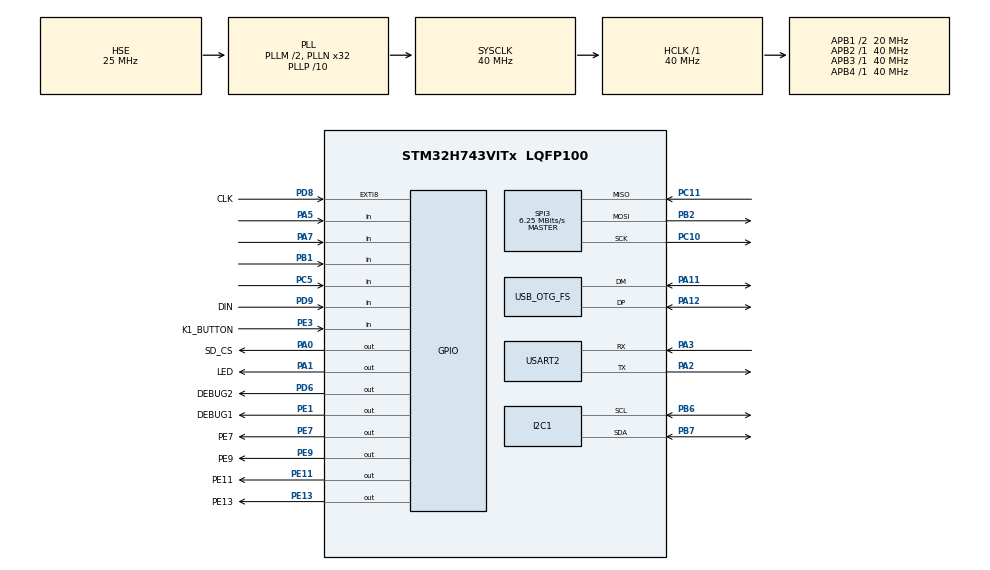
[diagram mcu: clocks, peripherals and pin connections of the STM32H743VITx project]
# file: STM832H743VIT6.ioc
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FATFS._MAX_SS=4096
FATFS._USE_LFN=1
FATFS._VOLUMES=2
I2C1.Timing=0x00404C74
Mcu.Family=STM32H7
Mcu.Name=STM32H743VITx
Mcu.Package=LQFP100
NVIC.EXTI9_5_IRQn=true\:0\:0\:false\:false\:true\:true\:true\:true
NVIC.OTG_FS_IRQn=true\:0\:0\:false\:false\:true\:false\:true\:true
NVIC.PriorityGroup=NVIC_PRIORITYGROUP_4
NVIC.TIM2_IRQn=true\:0\:0\:false\:false\:true\:true\:true\:true
NVIC.USART2_IRQn=true\:0\:0\:false\:false\:true\:true\:true\:true
PA0.GPIO_Label=SD_CS
PA0.GPIO_Speed=GPIO_SPEED_FREQ_MEDIUM
PA0.Signal=GPIO_Output
PA1.GPIO_Label=LED
PA1.GPIO_Speed=GPIO_SPEED_FREQ_MEDIUM
PA1.PinState=GPIO_PIN_SET
PA1.Signal=GPIO_Output
PA11.Mode=Device_Only
PA11.Signal=USB_OTG_FS_DM
PA12.Mode=Device_Only
PA12.Signal=USB_OTG_FS_DP
PA13\ (JTMS/SWDIO).Mode=Serial_Wire
PA13\ (JTMS/SWDIO).Signal=DEBUG_JTMS-SWDIO
PA14\ (JTCK/SWCLK).Mode=Serial_Wire
PA14\ (JTCK/SWCLK).Signal=DEBUG_JTCK-SWCLK
PA2.Mode=Asynchronous
PA2.Signal=USART2_TX
PA3.Mode=Asynchronous
PA3.Signal=USART2_RX
PA5.GPIO_PuPd=GPIO_PULLUP
PA5.Signal=GPIO_Input
PA7.GPIO_PuPd=GPIO_PULLUP
PA7.Signal=GPIO_Input
PB1.GPIO_PuPd=GPIO_PULLUP
PB1.Signal=GPIO_Input
PB2.Mode=Full_Duplex_Master
PB2.Signal=SPI3_MOSI
PB6.Mode=I2C
PB6.Signal=I2C1_SCL
PB7.Mode=I2C
PB7.Signal=I2C1_SDA
PC10.Mode=Full_Duplex_Master
PC10.Signal=SPI3_SCK
PC11.Mode=Full_Duplex_Master
PC11.Signal=SPI3_MISO
PC5.GPIO_PuPd=GPIO_PULLUP
PC5.Signal=GPIO_Input
PD6.GPIO_Label=DEBUG2
PD6.Signal=GPIO_Output
PD8.GPIO_Label=CLK
PD8.GPIO_ModeDefaultEXTI=GPIO_MODE_IT_FALLING
PD8.Signal=GPXTI8
PD9.GPIO_Label=DIN
PD9.Signal=GPIO_Input
PE1.GPIO_Label=DEBUG1
PE1.PinState=GPIO_PIN_SET
PE1.Signal=GPIO_Output
PE11.GPIO_Label=PE11
PE11.Signal=GPIO_Output
PE13.GPIO_Label=PE13
PE13.Signal=GPIO_Output
PE3.GPIO_Label=K1_BUTTON
PE3.GPIO_PuPd=GPIO_PULLUP
PE3.Signal=GPIO_Input
PE7.GPIO_Label=PE7
PE7.Signal=GPIO_Output
PE9.GPIO_Label=PE9
PE9.Signal=GPIO_Output
PH0-OSC_IN\ (PH0).Mode=HSE-External-Oscillator
PH0-OSC_IN\ (PH0).Signal=RCC_OSC_IN
PH1-OSC_OUT\ (PH1).Mode=HSE-External-Oscillator
PH1-OSC_OUT\ (PH1).Signal=RCC_OSC_OUT
ProjectManager.HeapSize=0x400
ProjectManager.StackSize=0x800
ProjectManager.TargetToolchain=STM32CubeIDE
RCC.ADCFreq_Value=50390625
RCC.APB1Freq_Value=20000000
RCC.APB2Freq_Value=40000000
RCC.APB3Freq_Value=40000000
RCC.APB4Freq_Value=40000000
RCC.CortexFreq_Value=40000000
RCC.D2PPRE1=RCC_APB1_DIV2
RCC.DIVM1=2
RCC.DIVN1=32
RCC.DIVP1=10
RCC.DIVQ1=8
RCC.HCLKFreq_Value=40000000
RCC.PLLFRACN=0
RCC.PLLSourceVirtual=RCC_PLLSOURCE_HSE
RCC.SYSCLKFreq_VALUE=40000000
RCC.SYSCLKSource=RCC_SYSCLKSOURCE_PLLCLK
RCC.USBFreq_Value=50000000
SPI3.BaudRatePrescaler=SPI_BAUDRATEPRESCALER_8
SPI3.CalculateBaudRate=6.25 MBits/s
SPI3.DataSize=SPI_DATASIZE_8BIT
SPI3.Direction=SPI_DIRECTION_2LINES
SPI3.Mode=SPI_MODE_MASTER
SPI3.VirtualType=VM_MASTER
TIM2.Period=10
TIM2.Prescaler=39999
USART2.VirtualMode-Asynchronous=VM_ASYNC
USB_DEVICE.CLASS_NAME_FS=CUSTOM_HID
USB_DEVICE.USBD_CUSTOM_HID_REPORT_DESC_SIZE-CUSTOM_HID_FS=61
USB_DEVICE.VirtualMode-CUSTOM_HID_FS=CustomHid
USB_DEVICE.VirtualModeFS=Custom_Hid_FS
USB_OTG_FS.VirtualMode=Device_Only
VP_FATFS_VS_Generic.Mode=User_defined
VP_TIM2_VS_ClockSourceINT.Mode=Internal
VP_USB_DEVICE_VS_USB_DEVICE_CUSTOM_HID_FS.Mode=CUSTOM_HID_FS
board=custom

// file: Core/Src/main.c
/* USER CODE BEGIN Header */
/**
  ******************************************************************************
  * @file           : main.c
  * @brief          : Main program body
  ******************************************************************************
  * @attention
  *
  * Copyright (c) 2023 STMicroelectronics.
  * All rights reserved.
  *
  * This software is licensed under terms that can be found in the LICENSE file
  * in the root directory of this software component.
  * If no LICENSE file comes with this software, it is provided AS-IS.
  *
  ******************************************************************************
  *
  * OLED, klawiatura, keypad
  * --------------------------
  * SD na SPI3
  * CS PA0 biały (przy module) -> zielony (analizator)
  * MOSI PB2 niebieski fioletowy (analizator)
  * MISO PC11 czarny -> niebieski (analizator)
  * SCK PC10 żółty	-> żółty (analizator)
  *
  *
  *
  * ToDo bieżące
  *
  * wyłuskanie nazwy pliku i katalogu z dwóch struktur: FILINFO I FATFS
  *
  *
  * 	- nowy branch z przykładami wykorzystania biblioteki Chana ver. 0.15 (Chan_FatFS_015) -> implementacja
  * 	- analiza na analizatorze braku inicjalizacji -> na potem
  * 		- CLK i MOSI nie startują po inicjalizacji; może zmiana zegara ma wpływ?
  * 			- niby po delay pojawił się dodakowy dołek/impuls w CS po ini
  *
  *------------------------------------------------------
  * 	- pamiętać:
  * 		- u nas jest:
  * 			- hspi3 (hspi trzy)
  * 			- huart2
  * 				- PA2 TXD
  * 				- PA3 RXD
  *
  * ToDo na później
  * 	- obsługa dwóch kart
  * 	- identyfikacja klawiatury (model/producent) w sytemie na PC
  * 	- keypad ewentualnie na przerwaniach: są opóźnienia na klawiaturze spowodowane
  * 	debouncingiem i timeoutem w obsłudze KeyPada
  */
/* USER CODE END Header */
#include "main.h"
#include "fatfs.h"
#include "i2c.h"
#include "spi.h"
#include "tim.h"
#include "usart.h"
#include "usb_device.h"
#include "gpio.h"

/* USER CODE BEGIN Includes */
#include "sd.h"

#include "keyboard.h"
#include "queue.h"
#include <string.h>
#include <stdio.h>
#include "ssd1306.h"
#include "KeyPad.h"
//#include <ssd1306_tests.h>
/* USER CODE END Includes */

/* USER CODE BEGIN PD */
#define SSD1306_USE_I2C
#define __DEBUG 1
#define BUFFERSIZE 100
#define I2CBUF	12
#define debug_print(x) 	do { if ( __DEBUG ) { strcpy(uartBuffer, x); HAL_UART_Transmit(&huart2, (unsigned char*) uartBuffer, strlen(uartBuffer), HAL_MAX_DELAY); }} while (0)
/* USER CODE END PD */

/* USER CODE BEGIN PV */
volatile uint16_t Timer1=0;
//uint8_t sect[512];
//char buffer1[512] ="Selection ... The..."; //bufor danych dla zapisu i odczytu
uint8_t sect[512];
// z urok 3:
extern char str1[60];
uint32_t byteswritten,bytesread;
uint8_t result;
extern char USERPath[4]; /* logical drive path */
FATFS SDFatFs;
FATFS *fs;
FIL MyFile;
FRESULT fr;
FILINFO fno;

//---------------------
struct queue_t keyq = {0};
struct keyboard_hid_t khid = {0};
uint32_t keyq_timeout = 0;
// dla OLED:
const uint8_t SSD1306_ADDRESS = 0x3C << 1;
const uint8_t RANDOM_REG = 0x0F;

char uartBuffer[BUFFERSIZE] = "";
uint8_t I2CBuffer[I2CBUF] = {0};
HAL_StatusTypeDef returnValue = 0;
// koniec OLED

/* USER CODE END PV */

void SystemClock_Config(void);

/* USER CODE BEGIN 0 */
FRESULT ReadLongFile(void)

{
  uint16_t i=0, i1=0;
  uint32_t ind=0;
  uint32_t f_size = fno.fsize;
	sprintf(str1, "fsize: %lu\r\n", (unsigned long) f_size);
	HAL_UART_Transmit(&huart2, (uint8_t*) str1, strlen(str1), 0x1000);
	ind = 0;
	do
	{
		if (f_size < 512)
		{
			i1 = f_size;
		}
		else
		{
			i1 = 512;
		}
		f_size -= i1;
		f_lseek(&MyFile, ind);
		f_read(&MyFile, sect, i1, (UINT*) &bytesread);
		for (i = 0; i < bytesread; i++)
		{
			HAL_UART_Transmit(&huart2, sect + i, 1, 0x1000);
		}
		ind += i1;
	}
	while (f_size > 0);
	HAL_UART_Transmit(&huart2, (uint8_t*) "\r\n", 2, 0x1000);
	return FR_OK;
}

void init()
{
	//ssd1306_TestAll();

}

/* USER CODE END 0 */

int main(void)
{
  /* USER CODE BEGIN 1 */
	uint16_t i;
	FRESULT res; /* FatFs function common result code */
	uint8_t wtext[] = "STM32 FATFS works jako tako"; /* File write buffer */
	FILINFO fileInfo;
	char *fn;
	DIR dir;
	DWORD fre_clust, fre_sect, tot_sect;

	uint32_t byteswritten; /* File write/read counts */
	//uint8_t rtext[_MAX_SS];/* File read buffer */

	KeyPad_Init();

  /* USER CODE END 1 */

  /* MCU Configuration--------------------------------------------------------*/

  /* Reset of all peripherals, Initializes the Flash interface and the Systick. */
  HAL_Init();

  /* Configure the system clock */
  SystemClock_Config();

  /* Initialize all configured peripherals */
  MX_GPIO_Init();
  MX_I2C1_Init();
  MX_USART2_UART_Init();
  MX_USB_DEVICE_Init();
  MX_FATFS_Init();
  MX_TIM2_Init();
  MX_SPI3_Init();
  /* USER CODE BEGIN 2 */
  //HAL_Delay(1000);

  HAL_TIM_Base_Start_IT(&htim2);
  //SD_PowerOn();
  //sd_ini();

  // zapis i odczyt z pominięciem systemu plików:
  //SD_Write_Block((uint8_t*)buffer1,0x0400); //zapisujemy blok w bufor na konkretny adres
  //SD_Read_Block(sect,0x0400); //wczytujemy blok z bufora (karty)
  //for(i=0;i<512;i++) HAL_UART_Transmit(&huart2, sect+i, 1, 0x1000);
  //HAL_UART_Transmit(&huart2,(uint8_t*)"\r\n",2,0x1000);

  disk_initialize(SDFatFs.drv);
  /*
  //read
  	if (f_mount(&SDFatFs, (TCHAR const*) USERPath, 0) != FR_OK)
	{
		Error_Handler();
	}
	else
	{
		fr = f_stat("123.txt", &fno);
		if (f_open(&MyFile, "123.txt", FA_READ) != FR_OK)
		{
			Error_Handler();
		}
		else
		{
			ReadLongFile();
			f_close(&MyFile);
		}
	}
*/
/*
  //write

  if(f_mount(&SDFatFs,(TCHAR const*)USERPath,0)!=FR_OK)
  {
    Error_Handler();
  }
  else
  {
    if(f_open(&MyFile,"mywrite.txt",FA_CREATE_ALWAYS|FA_WRITE)!=FR_OK)
    {
      Error_Handler();
    }

    else
    {
      res=f_write(&MyFile,wtext,sizeof(wtext),(void*)&byteswritten);
      if((byteswritten==0)||(res!=FR_OK))
      {
        Error_Handler();
      }
      f_close(&MyFile);
    }
  }
*/
//read dir
  if(f_mount(&SDFatFs,(TCHAR const*)USERPath,0)!=FR_OK)
  {
    Error_Handler();
  }
  else
  {
	SDFatFs.lfnbuf = (char*)sect;
    fileInfo.fsize = sizeof(sect);
    result = f_opendir(&dir, "/");
    if (result == FR_OK)
    {
    	while(1)
    	  {
    	    result = f_readdir(&dir, &fileInfo);
    	    if (result==FR_OK && fileInfo.fname[0])
    	    {
    	    	//fn = fileInfo.lfname; ???
    	    	fn = SDFatFs.lfnbuf;
    	    	  if(strlen(fn))
    	    	  {
    	    		  HAL_UART_Transmit(&huart2,(uint8_t*) fn, strlen(fn),0x1000);
    	    	  }
    	    	  else
    	    		  {
    	    		  	  HAL_UART_Transmit(&huart2,(uint8_t*)fileInfo.fname, strlen((char*)fileInfo.fname),0x1000);
    	    		  }
    	    	  if(fileInfo.fattrib & AM_DIR)
    	    	  {
    	    	    HAL_UART_Transmit(&huart2,(uint8_t*)" [DIR]",7,0x1000);
    	    	  }
    	    }
    	    else break;
    	    HAL_UART_Transmit(&huart2,(uint8_t*)"\r\n",2,0x1000);
    	  }
      f_closedir(&dir);
    }
  }
  FATFS_UnLinkDriver(USERPath);

  queue_init(&keyq);
  const char message[] = "Keyboard started!\r\n";
  HAL_UART_Transmit(&huart2, (uint8_t*)message, strlen(message), HAL_MAX_DELAY);

  /* USER CODE END 2 */

  /* Infinite loop */
  /* USER CODE BEGIN WHILE */
  	// inicjalizacja OLED
  	ssd1306_Init();
    ssd1306_Fill(Black);
    ssd1306_SetCursor(0,26);
    ssd1306_WriteString("Modulo 3 ele", Font_11x18, White);
    ssd1306_UpdateScreen();

  while (1)
  {
	  // ToDo opóźnienie i ini później do usunięcia
	  HAL_Delay(100);
	  handle_keys(&hUsbDeviceFS, &khid, &keyq, keyq_timeout, &hi2c1);
	#ifdef DEBUG
	  uint8_t bit = HAL_GPIO_ReadPin(CLK_GPIO_Port, CLK_Pin);
	  	  if (bit == 0)
	  	  {
	  		  HAL_GPIO_WritePin(DEBUG1_GPIO_Port, DEBUG1_Pin, GPIO_PIN_RESET);
	  	  }
	  	  else
	  	  {
	  		  HAL_GPIO_WritePin(DEBUG1_GPIO_Port, DEBUG1_Pin, GPIO_PIN_SET);
	  	  }
	  	  //HAL_GPIO_TogglePin(DEBUG1_GPIO_Port, DEBUG1_Pin);
		  bit = HAL_GPIO_ReadPin(DIN_GPIO_Port, DIN_Pin);
	  	  if (bit == 0)
	  	  {
	  		  HAL_GPIO_WritePin(DEBUG2_GPIO_Port, DEBUG2_Pin, GPIO_PIN_RESET);
	  	  }
	  	  else
	  	  {
	  		  HAL_GPIO_WritePin(DEBUG2_GPIO_Port, DEBUG2_Pin, GPIO_PIN_SET);
	  	  }
	  	  /*
	  	  HAL_GPIO_TogglePin(PC8_GPIO_Port, PC8_Pin);
	  	  HAL_GPIO_TogglePin(PC9_GPIO_Port, PC9_Pin);
	  	  HAL_GPIO_TogglePin(PC10_GPIO_Port, PC10_Pin);
	  	  HAL_GPIO_TogglePin(PC11_GPIO_Port, PC11_Pin);
	  	  HAL_GPIO_TogglePin(PC12_GPIO_Port, PC12_Pin);
	  	  HAL_GPIO_TogglePin(PD2_GPIO_Port, PD2_Pin);

	  	  HAL_GPIO_TogglePin(PA5_GPIO_Port, PA5_Pin);
	  	  HAL_GPIO_TogglePin(PA7_GPIO_Port, PA7_Pin);
	  	  HAL_GPIO_TogglePin(PC5_GPIO_Port, PC5_Pin);
	  	  HAL_GPIO_TogglePin(PB1_GPIO_Port, PB1_Pin);

	  	  HAL_GPIO_TogglePin(PE7_GPIO_Port, PE7_Pin);
	  	  HAL_GPIO_TogglePin(PE9_GPIO_Port, PE9_Pin);
	  	  HAL_GPIO_TogglePin(PE11_GPIO_Port, PE11_Pin);
	  	  HAL_GPIO_TogglePin(PE13_GPIO_Port, PE13_Pin);
	  	  // SD2:
	  	  HAL_GPIO_TogglePin(PA0_GPIO_Port, PA0_Pin);
	  	  HAL_GPIO_TogglePin(PB3_GPIO_Port, PB3_Pin);
	  	  HAL_GPIO_TogglePin(PB4_GPIO_Port, PB4_Pin);
	  	  HAL_GPIO_TogglePin(PB14_GPIO_Port, PB14_Pin);
	  	  HAL_GPIO_TogglePin(PB15_GPIO_Port, PB15_Pin);
	  	  HAL_GPIO_TogglePin(PC1_GPIO_Port, PC1_Pin);
	  	  */
	  	  //HAL_GPIO_TogglePin(SD_CS_GPIO_Port, SD_CS_Pin);
	  	  //HAL_GPIO_TogglePin(LED_GPIO_Port, LED_Pin);

	#endif
			 //const char message[] = "petla po zapisie\r\n";
			  //HAL_UART_Transmit(&huart2, (uint8_t*)message, strlen(message), HAL_MAX_DELAY);
			//HAL_Delay(500);
			 uint16_t keypad;
			 uint32_t timeout = 20;
			 /*
			 keypad = KeyPad_WaitForKey(timeout);
			 if (keypad != 0)
			 {

					 //const char message[] = "blad zapisu\r\n";
					 char message[12];
					 sprintf(message, "%d\r\n", keypad);
					  HAL_UART_Transmit(&huart2, (uint8_t*)message, strlen(message), HAL_MAX_DELAY);

			 }
			 */
			 char znak = KeyPad_WaitForKeyGetChar(timeout);
			 if (znak != 'X')
			 {
				  	ssd1306_Init();
				    ssd1306_Fill(Black);
				    ssd1306_SetCursor(0,26);
				    //char c = znak;
				    char str1[2] = {znak , '\0'};
					ssd1306_WriteString(str1, Font_11x18, White);
					ssd1306_UpdateScreen();
			 }

    /* USER CODE END WHILE */

  }
}

void SystemClock_Config(void)
{
  RCC_OscInitTypeDef RCC_OscInitStruct = {0};
  RCC_ClkInitTypeDef RCC_ClkInitStruct = {0};

  /** Supply configuration update enable
  */
  HAL_PWREx_ConfigSupply(PWR_LDO_SUPPLY);

  /** Configure the main internal regulator output voltage
  */
  __HAL_PWR_VOLTAGESCALING_CONFIG(PWR_REGULATOR_VOLTAGE_SCALE3);

  while(!__HAL_PWR_GET_FLAG(PWR_FLAG_VOSRDY)) {}

  /** Initializes the RCC Oscillators according to the specified parameters
  * in the RCC_OscInitTypeDef structure.
  */
  RCC_OscInitStruct.OscillatorType = RCC_OSCILLATORTYPE_HSE;
  RCC_OscInitStruct.HSEState = RCC_HSE_ON;
  RCC_OscInitStruct.PLL.PLLState = RCC_PLL_ON;
  RCC_OscInitStruct.PLL.PLLSource = RCC_PLLSOURCE_HSE;
  RCC_OscInitStruct.PLL.PLLM = 2;
  RCC_OscInitStruct.PLL.PLLN = 32;
  RCC_OscInitStruct.PLL.PLLP = 10;
  RCC_OscInitStruct.PLL.PLLQ = 8;
  RCC_OscInitStruct.PLL.PLLR = 2;
  RCC_OscInitStruct.PLL.PLLRGE = RCC_PLL1VCIRANGE_3;
  RCC_OscInitStruct.PLL.PLLVCOSEL = RCC_PLL1VCOWIDE;
  RCC_OscInitStruct.PLL.PLLFRACN = 0;
  if (HAL_RCC_OscConfig(&RCC_OscInitStruct) != HAL_OK)
  {
    Error_Handler();
  }

  /** Initializes the CPU, AHB and APB buses clocks
  */
  RCC_ClkInitStruct.ClockType = RCC_CLOCKTYPE_HCLK|RCC_CLOCKTYPE_SYSCLK
                              |RCC_CLOCKTYPE_PCLK1|RCC_CLOCKTYPE_PCLK2
                              |RCC_CLOCKTYPE_D3PCLK1|RCC_CLOCKTYPE_D1PCLK1;
  RCC_ClkInitStruct.SYSCLKSource = RCC_SYSCLKSOURCE_PLLCLK;
  RCC_ClkInitStruct.SYSCLKDivider = RCC_SYSCLK_DIV1;
  RCC_ClkInitStruct.AHBCLKDivider = RCC_HCLK_DIV1;
  RCC_ClkInitStruct.APB3CLKDivider = RCC_APB3_DIV1;
  RCC_ClkInitStruct.APB1CLKDivider = RCC_APB1_DIV2;
  RCC_ClkInitStruct.APB2CLKDivider = RCC_APB2_DIV1;
  RCC_ClkInitStruct.APB4CLKDivider = RCC_APB4_DIV1;

  if (HAL_RCC_ClockConfig(&RCC_ClkInitStruct, FLASH_LATENCY_0) != HAL_OK)
  {
    Error_Handler();
  }
}

/* USER CODE BEGIN 4 */
//----------------------------------------------------------

void HAL_TIM_PeriodElapsedCallback(TIM_HandleTypeDef *htim)
{
	if(htim==&htim2)
	{
		Timer1++;
	}
}

//----------------------------------------------------------

void HAL_GPIO_EXTI_Callback(uint16_t pin)
{
  if (pin == CLK_Pin)
  {
    ps2_clk_callback(&keyq, &keyq_timeout, DIN_GPIO_Port, DIN_Pin);
  }
}
/* USER CODE END 4 */

void Error_Handler(void)
{
  __disable_irq();
  while (1)
  {
  }
}
